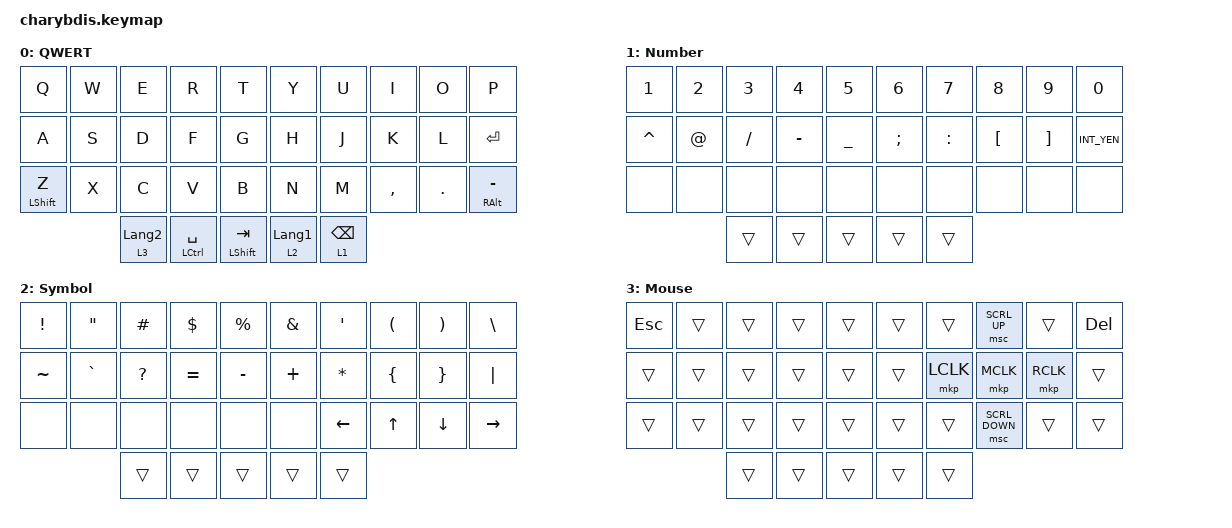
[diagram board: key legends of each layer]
#include <behaviors/mouse_keys.dtsi>
#include <dt-bindings/zmk/mouse.h>
#include <behaviors.dtsi>
#include <dt-bindings/zmk/keys.h>
#include <dt-bindings/zmk/pointing.h>

&lt {
    tapping-term-ms = <240>;
    flavor = "tap-preferred";
    quick-tap-ms = <150>;
    require-prior-idle-ms = <10>;
};

&mt {
    tapping-term-ms = <250>;
    flavor = "tap-preferred";
    require-prior-idle-ms = <250>;
};

/ {
    chosen { zmk,matrix_transform = &five_column_transform; };
};

/ {
    combos {
        compatible = "zmk,combos";

        LeftClickRight {
            bindings = <&mkp LCLK>;
            key-positions = <16 17>;
        };

        RightClickRight {
            bindings = <&mkp RCLK>;
            key-positions = <17 18>;
        };

        scroll {
            bindings = <&mo 0>;
            key-positions = <16 17 18>;
        };

        toggle_layer3 {
            bindings = <&tog 3>;
            key-positions = <12 17>;
        };
    };

    behaviors {
        Shift_Enter: Shift_Enter {
            compatible = "zmk,behavior-hold-tap";
            label = "SHIFT_ENTER";
            bindings = <&kp>, <&kp>;

            #binding-cells = <2>;
            hold-trigger-key-positions = <34>;
            tapping-term-ms = <100>;
        };
    };

    macros {
        quicker: quicker {
            compatible = "zmk,behavior-macro";
            #binding-cells = <0>;
            bindings = <&kp LEFT_CONTROL &kp LCTRL>, <&macro_press>;

            label = "QUICKER";
        };
    };

    keymap {
        compatible = "zmk,keymap";

        QWERT {
            bindings = <
  &kp Q        &kp W  &kp E             &kp R            &kp T                 &kp Y             &kp U            &kp I      &kp O    &kp P
  &kp A        &kp S  &kp D             &kp F            &kp G                 &kp H             &kp J            &kp K      &kp L    &kp ENTER
  &mt LSHFT Z  &kp X  &kp C             &kp V            &kp B                 &kp N             &kp M            &kp COMMA  &kp DOT  &mt RIGHT_ALT MINUS
                      &lt 3 LANGUAGE_2  &mt LCTRL SPACE  &mt LEFT_SHIFT TAB    &lt 2 LANGUAGE_1  &lt 1 BACKSPACE
            >;
        };

        Number {
            bindings = <
  &kp NUMBER_1  &kp NUMBER_2  &kp NUMBER_3  &kp NUMBER_4  &kp N5            &kp NUMBER_6   &kp N7     &kp N8            &kp N9             &kp N0
  &kp CARET     &kp AT_SIGN   &kp SLASH     &kp MINUS     &kp UNDERSCORE    &kp SEMICOLON  &kp COLON  &kp LEFT_BRACKET  &kp RIGHT_BRACKET  &kp INT_YEN
  &none         &none         &none         &none         &none             &none          &none      &none             &none              &none
                              &trans        &trans        &trans            &trans         &trans
            >;
        };

        Symbol {
            bindings = <
  &kp EXCLAMATION  &kp DOUBLE_QUOTES  &kp HASH      &kp DOLLAR  &kp PERCENT    &kp AMPERSAND  &kp SINGLE_QUOTE  &kp LEFT_PARENTHESIS  &kp RIGHT_PARENTHESIS  &kp BACKSLASH
  &kp TILDE        &kp GRAVE          &kp QUESTION  &kp EQUAL   &kp MINUS      &kp PLUS       &kp ASTERISK      &kp LEFT_BRACE        &kp RIGHT_BRACE        &kp PIPE
  &none            &none              &none         &none       &none          &none          &kp LEFT_ARROW    &kp UP_ARROW          &kp DOWN               &kp RIGHT_ARROW
                                      &trans        &trans      &trans         &trans         &trans
            >;
        };

        Mouse {
            bindings = <
  &kp ESC  &trans  &trans  &trans  &trans    &trans  &trans     &msc SCRL_UP    &trans     &kp DEL
  &trans   &trans  &trans  &trans  &trans    &trans  &mkp LCLK  &mkp MCLK       &mkp RCLK  &trans
  &trans   &trans  &trans  &trans  &trans    &trans  &trans     &msc SCRL_DOWN  &trans     &trans
                   &trans  &trans  &trans    &trans  &trans
            >;
        };
    };
};
